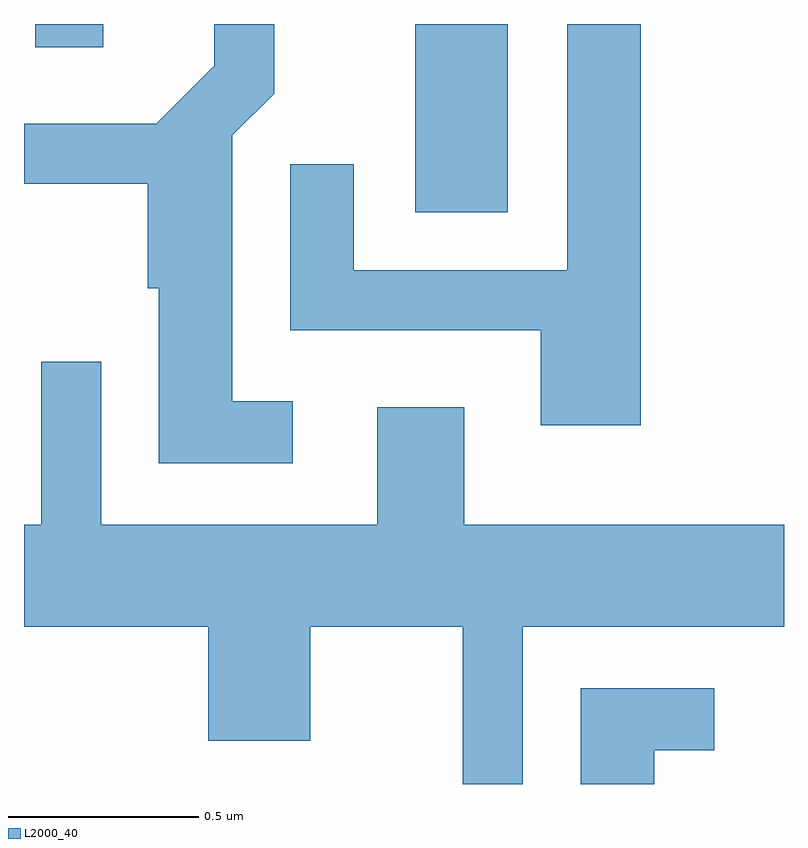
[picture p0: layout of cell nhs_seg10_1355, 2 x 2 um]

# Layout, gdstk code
import gdstk
lib = gdstk.Library(unit=1e-6, precision=1e-09)
def R(c, l, rs):  # rectangles x0, y0, x1, y1
    for r in rs: c.add(gdstk.rectangle(r[:2], r[2:], *l))
def P(c, l, *ps):  # polygons
    for p in ps: c.add(gdstk.Polygon(p, *l))
L2000_40 = (2000, 40)

nhs_seg10_1355 = lib.new_cell('nhs_seg10_1355')
R(nhs_seg10_1355, L2000_40, [(195.641,2206.026,195.884,2206.522), (194.641,2206.461,194.819,2206.522)])
P(nhs_seg10_1355, L2000_40, [(195.318,2205.529),(195.159,2205.529),(195.159,2206.229),(195.269,2206.339),(195.269,2206.522),(195.111,2206.522),(195.111,2206.412),(194.959,2206.259),(194.611,2206.259),(194.611,2206.101),(194.936,2206.101),(194.936,2205.826),(194.966,2205.826),(194.966,2205.366),(195.318,2205.366)],
  [(196.234,2206.522),(196.041,2206.522),(196.041,2205.874),(195.479,2205.874),(195.479,2206.153),(195.311,2206.153),(195.311,2205.716),(195.971,2205.716),(195.971,2205.466),(196.234,2205.466)],
  [(195.924,2204.936),(196.611,2204.936),(196.611,2205.204),(195.769,2205.204),(195.769,2205.514),(195.541,2205.514),(195.541,2205.204),(194.814,2205.204),(194.814,2205.633),(194.656,2205.633),(194.656,2205.204),(194.611,2205.204),(194.611,2204.936),(195.096,2204.936),(195.096,2204.636),(195.364,2204.636),(195.364,2204.936),(195.766,2204.936),(195.766,2204.522),(195.924,2204.522)],
  [(196.269,2204.611),(196.428,2204.611),(196.428,2204.774),(196.076,2204.774),(196.076,2204.522),(196.269,2204.522)])

lib.write_gds('nhs_seg10_1355.gds')
